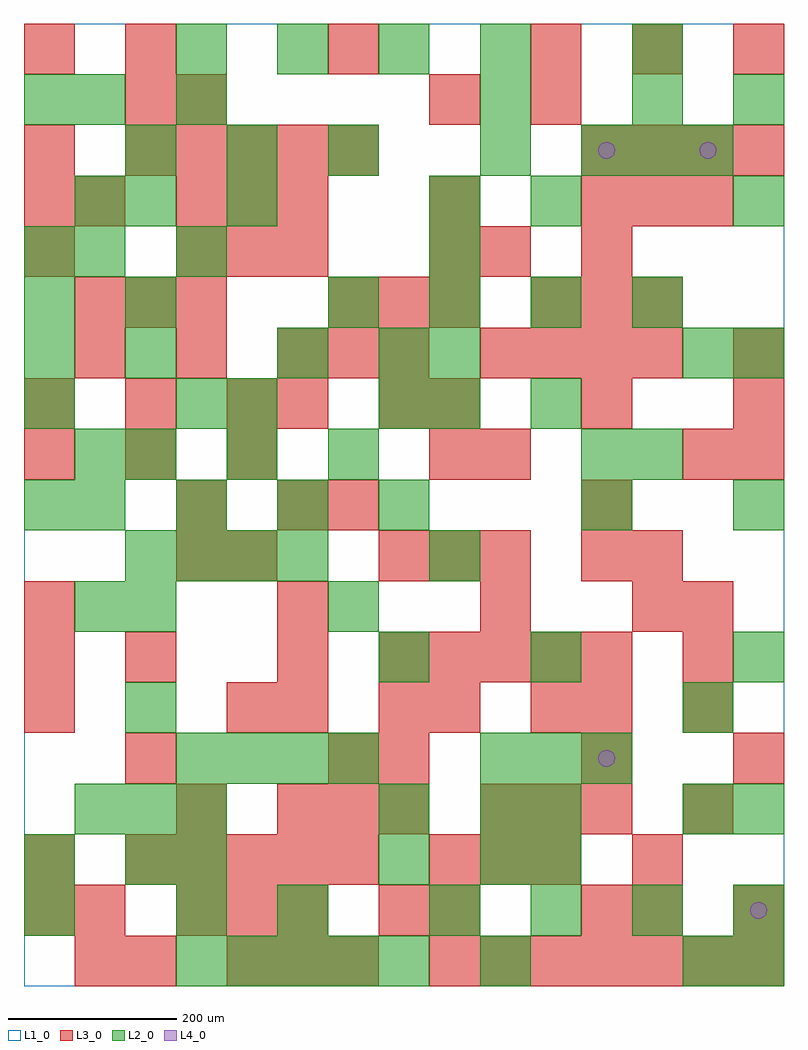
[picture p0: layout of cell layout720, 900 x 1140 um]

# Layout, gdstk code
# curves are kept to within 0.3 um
import gdstk
lib = gdstk.Library(unit=1e-6, precision=1e-09)
def R(c, l, rs):  # rectangles x0, y0, x1, y1
    for r in rs: c.add(gdstk.rectangle(r[:2], r[2:], *l))
def A(c, l, x, y, w, h, nx, ny, dx, dy):  # array of equal rectangles
    R(c, l, [(x+i*dx, y+j*dy, x+i*dx+w, y+j*dy+h) for i in range(nx) for j in range(ny)])
def P(c, l, *ps):  # polygons
    for p in ps: c.add(gdstk.Polygon(p, *l))
L1_0 = (1, 0)
L2_0 = (2, 0)
L3_0 = (3, 0)
L4_0 = (4, 0)

layout720 = lib.new_cell('layout720')
R(layout720, L1_0, [(0,0,900,1140)])
A(layout720, L2_0, 180, 0, 60, 60, 5, 1, 60, 0)
A(layout720, L2_0, 840, 0, 60, 60, 1, 6, 0, 180)
A(layout720, L2_0, 480, 60, 60, 60, 4, 1, 120, 0)
A(layout720, L2_0, 60, 180, 60, 60, 3, 1, 60, 0)
A(layout720, L2_0, 180, 240, 60, 60, 4, 1, 60, 0)
A(layout720, L2_0, 540, 240, 60, 60, 3, 1, 60, 0)
A(layout720, L2_0, 120, 480, 60, 60, 4, 1, 60, 0)
A(layout720, L2_0, 60, 540, 60, 60, 4, 1, 120, 0)
A(layout720, L2_0, 120, 600, 60, 60, 3, 2, 120, 360)
A(layout720, L2_0, 0, 660, 60, 60, 1, 4, 0, 60)
A(layout720, L2_0, 180, 660, 60, 60, 1, 3, 0, 180)
A(layout720, L2_0, 360, 780, 60, 60, 4, 1, 120, 0)
A(layout720, L2_0, 660, 960, 60, 60, 3, 1, 60, 0)
A(layout720, L2_0, 180, 1080, 60, 60, 4, 1, 120, 0)
R(layout720, L2_0, [(540,0,600,60), (780,0,840,60), (0,60,60,120), (180,60,240,120), (300,60,360,120), (0,120,60,180), (120,120,180,180), (180,120,240,180), (420,120,480,180), (540,120,600,180), (600,120,660,180), (420,180,480,240), (540,180,600,240), (600,180,660,240), (780,180,840,240), (120,300,180,360), (780,300,840,360), (420,360,480,420), (600,360,660,420), (60,420,120,480), (120,420,180,480), (360,420,420,480), (480,480,540,540), (0,540,60,600), (660,540,720,600), (60,600,120,660), (660,600,720,660), (720,600,780,660), (240,660,300,720), (420,660,480,720), (480,660,540,720), (600,660,660,720), (120,720,180,780), (300,720,360,780), (420,720,480,780), (480,720,540,780), (780,720,840,780), (120,780,180,840), (60,840,120,900), (480,840,540,900), (60,900,120,960), (120,900,180,960), (240,900,300,960), (480,900,540,960), (600,900,660,960), (540,960,600,1020), (0,1020,60,1080), (60,1020,120,1080), (540,1020,600,1080), (720,1020,780,1080), (840,1020,900,1080), (720,1080,780,1140)])
A(layout720, L3_0, 240, 0, 60, 60, 3, 1, 60, 0)
A(layout720, L3_0, 480, 0, 60, 60, 7, 1, 60, 0)
A(layout720, L3_0, 180, 60, 60, 60, 3, 2, 60, 780)
A(layout720, L3_0, 120, 120, 60, 60, 5, 2, 60, 840)
A(layout720, L3_0, 480, 120, 60, 60, 3, 1, 60, 0)
A(layout720, L3_0, 300, 180, 60, 60, 3, 1, 60, 0)
A(layout720, L3_0, 540, 180, 60, 60, 3, 1, 60, 0)
A(layout720, L3_0, 0, 300, 60, 60, 1, 3, 0, 60)
A(layout720, L3_0, 300, 300, 60, 60, 1, 3, 0, 60)
A(layout720, L3_0, 780, 300, 60, 60, 1, 3, 0, 60)
A(layout720, L3_0, 420, 360, 60, 60, 5, 1, 60, 0)
A(layout720, L3_0, 420, 480, 60, 60, 3, 1, 60, 0)
A(layout720, L3_0, 0, 600, 60, 60, 3, 2, 120, 60)
A(layout720, L3_0, 480, 660, 60, 60, 3, 1, 180, 0)
A(layout720, L3_0, 60, 720, 60, 60, 3, 1, 120, 0)
A(layout720, L3_0, 540, 720, 60, 60, 4, 1, 60, 0)
A(layout720, L3_0, 60, 780, 60, 60, 3, 1, 60, 0)
A(layout720, L3_0, 360, 780, 60, 60, 3, 1, 60, 0)
A(layout720, L3_0, 600, 780, 60, 60, 3, 1, 60, 0)
A(layout720, L3_0, 0, 840, 60, 60, 1, 3, 0, 60)
A(layout720, L3_0, 180, 900, 60, 60, 3, 1, 60, 0)
A(layout720, L3_0, 660, 900, 60, 60, 3, 1, 60, 0)
A(layout720, L3_0, 660, 960, 60, 60, 4, 1, 60, 0)
A(layout720, L3_0, 120, 1080, 60, 60, 3, 1, 240, 0)
R(layout720, L3_0, [(60,0,120,60), (120,0,180,60), (0,60,60,120), (60,60,120,120), (420,60,480,120), (480,60,540,120), (660,60,720,120), (720,60,780,120), (840,60,900,120), (0,120,60,180), (720,120,780,180), (180,180,240,240), (780,180,840,240), (120,240,180,300), (360,240,420,300), (420,240,480,300), (660,240,720,300), (840,240,900,300), (240,300,300,360), (420,300,480,360), (480,300,540,360), (600,300,660,360), (660,300,720,360), (120,360,180,420), (540,420,600,480), (720,420,780,480), (180,480,240,540), (240,480,300,540), (660,480,720,540), (720,480,780,540), (180,540,240,600), (300,540,360,600), (360,540,420,600), (660,540,720,600), (480,600,540,660), (540,600,600,660), (780,600,840,660), (840,600,900,660), (300,660,360,720), (420,660,480,720), (360,720,420,780), (420,720,480,780), (840,720,900,780), (480,840,540,900), (540,840,600,900), (660,840,720,900), (60,900,120,960), (480,900,540,960), (120,1020,180,1080), (180,1020,240,1080), (480,1020,540,1080), (600,1020,660,1080), (0,1080,60,1140), (720,1080,780,1140), (840,1080,900,1140)])
P(layout720, L4_0, [(700,270),(699.239,273.827),(697.071,277.071),(693.827,279.239),(690,280),(686.173,279.239),(682.929,277.071),(680.761,273.827),(680,270),(680.761,266.173),(682.929,262.929),(686.173,260.761),(690,260),(693.827,260.761),(697.071,262.929),(699.239,266.173)],
  [(700,990),(699.239,993.827),(697.071,997.071),(693.827,999.239),(690,1000),(686.173,999.239),(682.929,997.071),(680.761,993.827),(680,990),(680.761,986.173),(682.929,982.929),(686.173,980.761),(690,980),(693.827,980.761),(697.071,982.929),(699.239,986.173)],
  [(820,990),(819.239,993.827),(817.071,997.071),(813.827,999.239),(810,1000),(806.173,999.239),(802.929,997.071),(800.761,993.827),(800,990),(800.761,986.173),(802.929,982.929),(806.173,980.761),(810,980),(813.827,980.761),(817.071,982.929),(819.239,986.173)],
  [(880,90),(879.239,93.827),(877.071,97.071),(873.827,99.239),(870,100),(866.173,99.239),(862.929,97.071),(860.761,93.827),(860,90),(860.761,86.173),(862.929,82.929),(866.173,80.761),(870,80),(873.827,80.761),(877.071,82.929),(879.239,86.173)])

lib.write_gds('layout720.gds')
